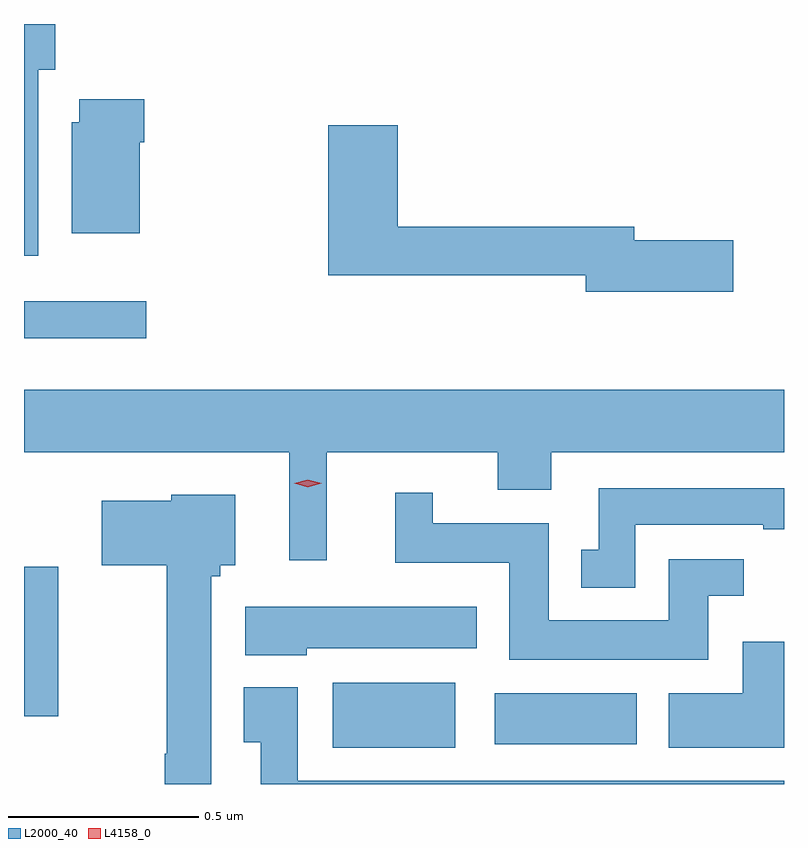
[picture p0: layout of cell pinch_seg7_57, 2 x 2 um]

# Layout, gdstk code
import gdstk
lib = gdstk.Library(unit=1e-6, precision=1e-09)
def R(c, l, rs):  # rectangles x0, y0, x1, y1
    for r in rs: c.add(gdstk.rectangle(r[:2], r[2:], *l))
def P(c, l, *ps):  # polygons
    for p in ps: c.add(gdstk.Polygon(p, *l))
L2000_40 = (2000, 40)
L4158_0 = (4158, 0)

pinch_seg7_57 = lib.new_cell('pinch_seg7_57')
R(pinch_seg7_57, L2000_40, [(973.868,1046.459,974.191,1046.629), (974.295,1046.468,974.668,1046.602), (973.056,1046.541,973.146,1046.935), (973.056,1047.536,973.378,1047.633)])
P(pinch_seg7_57, L2000_40, [(973.093,1048.242),(973.138,1048.242),(973.138,1048.363),(973.056,1048.363),(973.056,1047.753),(973.093,1047.753)],
  [(973.36,1048.052),(973.373,1048.052),(973.373,1048.165),(973.202,1048.165),(973.202,1048.104),(973.181,1048.104),(973.181,1047.812),(973.36,1047.812)],
  [(974.923,1047.794),(974.662,1047.794),(974.662,1047.83),(974.039,1047.83),(974.039,1048.096),(973.856,1048.096),(973.856,1047.702),(974.534,1047.702),(974.534,1047.659),(974.923,1047.659)],
  [(973.853,1047.236),(974.303,1047.236),(974.303,1047.137),(974.443,1047.137),(974.443,1047.236),(975.056,1047.236),(975.056,1047.4),(973.056,1047.4),(973.056,1047.236),(973.754,1047.236),(973.754,1046.952),(973.853,1046.952)],
  [(974.664,1047.045),(975.002,1047.045),(975.002,1047.033),(975.056,1047.033),(975.056,1047.141),(974.568,1047.141),(974.568,1046.979),(974.522,1046.979),(974.522,1046.879),(974.664,1046.879)],
  [(974.857,1046.859),(974.95,1046.859),(974.95,1046.955),(974.753,1046.955),(974.753,1046.794),(974.437,1046.794),(974.437,1047.049),(974.131,1047.049),(974.131,1047.13),(974.033,1047.13),(974.033,1046.945),(974.333,1046.945),(974.333,1046.69),(974.857,1046.69)],
  [(973.549,1046.91),(973.573,1046.91),(973.573,1046.939),(973.612,1046.939),(973.612,1047.124),(973.443,1047.124),(973.443,1047.109),(973.26,1047.109),(973.26,1046.939),(973.432,1046.939),(973.432,1046.443),(973.427,1046.443),(973.427,1046.363),(973.549,1046.363)],
  [(973.8,1046.72),(974.248,1046.72),(974.248,1046.83),(973.638,1046.83),(973.638,1046.702),(973.8,1046.702)],
  [(975.056,1046.737),(974.948,1046.737),(974.948,1046.602),(974.753,1046.602),(974.753,1046.459),(975.056,1046.459)],
  [(975.056,1046.371),(973.776,1046.371),(973.776,1046.617),(973.634,1046.617),(973.634,1046.473),(973.679,1046.473),(973.679,1046.363),(975.056,1046.363)])
P(pinch_seg7_57, L4158_0, [(973.803,1047.144),(973.767,1047.154),(973.767,1047.154),(973.767,1047.154),(973.803,1047.164),(973.839,1047.154),(973.839,1047.154),(973.839,1047.154)])

lib.write_gds('pinch_seg7_57.gds')
